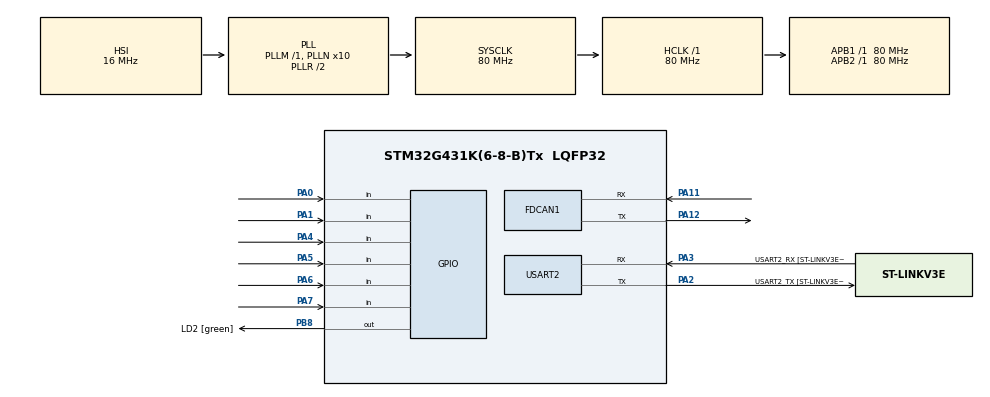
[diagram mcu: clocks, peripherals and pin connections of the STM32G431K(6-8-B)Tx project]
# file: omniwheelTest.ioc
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FDCAN1.CalculateBaudRateNominal=1000000
FDCAN1.CalculateTimeBitNominal=1000
FDCAN1.CalculateTimeQuantumNominal=62.5
FDCAN1.DataPrescaler=1
FDCAN1.DataSyncJumpWidth=4
FDCAN1.DataTimeSeg1=5
FDCAN1.DataTimeSeg2=4
FDCAN1.NominalPrescaler=5
FDCAN1.NominalSyncJumpWidth=16
FDCAN1.NominalTimeSeg1=13
FDCAN1.StdFiltersNbr=1
Mcu.Family=STM32G4
Mcu.Name=STM32G431K(6-8-B)Tx
Mcu.Package=LQFP32
NVIC.FDCAN1_IT0_IRQn=true\:0\:0\:false\:false\:true\:true\:true\:true
NVIC.FDCAN1_IT1_IRQn=true\:0\:0\:false\:false\:true\:true\:true\:true
NVIC.PriorityGroup=NVIC_PRIORITYGROUP_4
PA0.GPIO_PuPd=GPIO_PULLUP
PA0.Signal=GPIO_Input
PA1.GPIO_PuPd=GPIO_PULLUP
PA1.Signal=GPIO_Input
PA11.Mode=FDCAN_Activate
PA11.Signal=FDCAN1_RX
PA12.Mode=FDCAN_Activate
PA12.Signal=FDCAN1_TX
PA13.GPIO_Label=T_SWDIO
PA13.Mode=Serial_Wire
PA13.Signal=SYS_JTMS-SWDIO
PA14.GPIO_Label=T_SWCLK
PA14.Mode=Serial_Wire
PA14.Signal=SYS_JTCK-SWCLK
PA2.GPIO_Label=USART2_TX [ST-LINKV3E_VCP_RX]
PA2.Mode=Asynchronous
PA2.Signal=USART2_TX
PA3.GPIO_Label=USART2_RX [ST-LINKV3E_VCP_TX]
PA3.Mode=Asynchronous
PA3.Signal=USART2_RX
PA4.GPIO_PuPd=GPIO_PULLUP
PA4.Signal=GPIO_Input
PA5.GPIO_PuPd=GPIO_PULLUP
PA5.Signal=GPIO_Input
PA6.GPIO_PuPd=GPIO_PULLUP
PA6.Signal=GPIO_Input
PA7.GPIO_PuPd=GPIO_PULLUP
PA7.Signal=GPIO_Input
PB3.GPIO_Label=T_SWO
PB3.Signal=SYS_JTDO-SWO
PB8-BOOT0.GPIO_Label=LD2 [green]
PB8-BOOT0.Signal=GPIO_Output
ProjectManager.HeapSize=0x200
ProjectManager.StackSize=0x400
ProjectManager.TargetToolchain=STM32CubeIDE
RCC.ADC12Freq_Value=80000000
RCC.AHBFreq_Value=80000000
RCC.APB1Freq_Value=80000000
RCC.APB1TimFreq_Value=80000000
RCC.APB2Freq_Value=80000000
RCC.APB2TimFreq_Value=80000000
RCC.CortexFreq_Value=80000000
RCC.EXTERNAL_CLOCK_VALUE=12288000
RCC.HCLKFreq_Value=80000000
RCC.HSE_VALUE=8000000
RCC.HSI48_VALUE=48000000
RCC.HSI_VALUE=16000000
RCC.LSE_VALUE=32768
RCC.PLLN=10
RCC.SYSCLKFreq_VALUE=80000000
RCC.SYSCLKSource=RCC_SYSCLKSOURCE_PLLCLK
RCC.USBFreq_Value=80000000
RCC.VCOOutputFreq_Value=160000000
USART2.VirtualMode-Asynchronous=VM_ASYNC
USART2.WordLength=WORDLENGTH_8B
board=NUCLEO-G431KB

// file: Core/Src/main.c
/* USER CODE BEGIN Header */
/**
  ******************************************************************************
  * @file           : main.c
  * @brief          : Main program body
  ******************************************************************************
  * @attention
  *
  * Copyright (c) 2023 STMicroelectronics.
  * All rights reserved.
  *
  * This software is licensed under terms that can be found in the LICENSE file
  * in the root directory of this software component.
  * If no LICENSE file comes with this software, it is provided AS-IS.
  *
  ******************************************************************************
  */
/* USER CODE END Header */
#include "main.h"

/* USER CODE BEGIN PD */
#define MOTOR0 0 //正面?���?出側のモーターから反時計回りに0,1,2
#define MOTOR1 1
#define MOTOR2 2
#define CANID_MOTORS 0x200
/* USER CODE END PD */

FDCAN_HandleTypeDef hfdcan1;

UART_HandleTypeDef huart2;

/* USER CODE BEGIN PV */
uint8_t speed = 64;

/* USER CODE END PV */

void SystemClock_Config(void);
static void MX_GPIO_Init(void);
static void MX_USART2_UART_Init(void);
static void MX_FDCAN1_Init(void);
/* USER CODE BEGIN PFP */
void omnidrive(int8_t Vx, int8_t Vy, int8_t Om);
void CAN_Motordrive(int16_t vel[]);

/* USER CODE END PFP */

int main(void)
{

  /* MCU Configuration--------------------------------------------------------*/

  /* Reset of all peripherals, Initializes the Flash interface and the Systick. */
  HAL_Init();

  /* Configure the system clock */
  SystemClock_Config();

  /* Initialize all configured peripherals */
  MX_GPIO_Init();
  MX_USART2_UART_Init();
  MX_FDCAN1_Init();
  /* USER CODE BEGIN 2 */
  if (HAL_FDCAN_Start(&hfdcan1) != HAL_OK) {
  		Error_Handler();
  	}

  uint8_t i;
  uint8_t Vx, Vy, Om;
  uint8_t inputs[6];
  uint8_t inputPins[6] = {GPIO_PIN_0,GPIO_PIN_1,GPIO_PIN_4,GPIO_PIN_5,GPIO_PIN_6,GPIO_PIN_7};

  /* USER CODE END 2 */

  /* Infinite loop */
  /* USER CODE BEGIN WHILE */
  while (1)
  {
	  for(i=0; i<6; i++){
		  inputs[i]=HAL_GPIO_ReadPin(GPIOA, inputPins[i]);//pullup, SET == LOW, RESET == HIGH
	  }

	  if(inputs[0]==GPIO_PIN_RESET){
		  Vx=0; Vy=0; Om=1;
	  }
	  else if(inputs[1]==GPIO_PIN_RESET){
		  Vx=0; Vy=0; Om=-1;
	  }
	  else if(inputs[2]==GPIO_PIN_RESET){
		  Vx=1; Vy=0; Om=0;
	  }
	  else if(inputs[3]==GPIO_PIN_RESET){
		  Vx=-1; Vy=0; Om=0;
	  }
	  else if(inputs[4]==GPIO_PIN_RESET){
		  Vx=0; Vy=1; Om=0;
	  }
	  else if(inputs[5]==GPIO_PIN_RESET){
		  Vx=0; Vy=-1; Om=0;
	  }
	  else{
		  Vx=0; Vy=0; Om=0;
	  }
	  //Vx=0;Vy=0;Om=-1;

	  omnidrive(Vx,Vy,Om);

    /* USER CODE END WHILE */

  }
}

void SystemClock_Config(void)
{
  RCC_OscInitTypeDef RCC_OscInitStruct = {0};
  RCC_ClkInitTypeDef RCC_ClkInitStruct = {0};

  /** Configure the main internal regulator output voltage
  */
  HAL_PWREx_ControlVoltageScaling(PWR_REGULATOR_VOLTAGE_SCALE1);

  /** Initializes the RCC Oscillators according to the specified parameters
  * in the RCC_OscInitTypeDef structure.
  */
  RCC_OscInitStruct.OscillatorType = RCC_OSCILLATORTYPE_HSI;
  RCC_OscInitStruct.HSIState = RCC_HSI_ON;
  RCC_OscInitStruct.HSICalibrationValue = RCC_HSICALIBRATION_DEFAULT;
  RCC_OscInitStruct.PLL.PLLState = RCC_PLL_ON;
  RCC_OscInitStruct.PLL.PLLSource = RCC_PLLSOURCE_HSI;
  RCC_OscInitStruct.PLL.PLLM = RCC_PLLM_DIV1;
  RCC_OscInitStruct.PLL.PLLN = 10;
  RCC_OscInitStruct.PLL.PLLP = RCC_PLLP_DIV2;
  RCC_OscInitStruct.PLL.PLLQ = RCC_PLLQ_DIV2;
  RCC_OscInitStruct.PLL.PLLR = RCC_PLLR_DIV2;
  if (HAL_RCC_OscConfig(&RCC_OscInitStruct) != HAL_OK)
  {
    Error_Handler();
  }

  /** Initializes the CPU, AHB and APB buses clocks
  */
  RCC_ClkInitStruct.ClockType = RCC_CLOCKTYPE_HCLK|RCC_CLOCKTYPE_SYSCLK
                              |RCC_CLOCKTYPE_PCLK1|RCC_CLOCKTYPE_PCLK2;
  RCC_ClkInitStruct.SYSCLKSource = RCC_SYSCLKSOURCE_PLLCLK;
  RCC_ClkInitStruct.AHBCLKDivider = RCC_SYSCLK_DIV1;
  RCC_ClkInitStruct.APB1CLKDivider = RCC_HCLK_DIV1;
  RCC_ClkInitStruct.APB2CLKDivider = RCC_HCLK_DIV1;

  if (HAL_RCC_ClockConfig(&RCC_ClkInitStruct, FLASH_LATENCY_2) != HAL_OK)
  {
    Error_Handler();
  }
}

static void MX_FDCAN1_Init(void)
{

  hfdcan1.Instance = FDCAN1;
  hfdcan1.Init.ClockDivider = FDCAN_CLOCK_DIV1;
  hfdcan1.Init.FrameFormat = FDCAN_FRAME_CLASSIC;
  hfdcan1.Init.Mode = FDCAN_MODE_NORMAL;
  hfdcan1.Init.AutoRetransmission = DISABLE;
  hfdcan1.Init.TransmitPause = DISABLE;
  hfdcan1.Init.ProtocolException = DISABLE;
  hfdcan1.Init.NominalPrescaler = 5;
  hfdcan1.Init.NominalSyncJumpWidth = 16;
  hfdcan1.Init.NominalTimeSeg1 = 13;
  hfdcan1.Init.NominalTimeSeg2 = 2;
  hfdcan1.Init.DataPrescaler = 1;
  hfdcan1.Init.DataSyncJumpWidth = 4;
  hfdcan1.Init.DataTimeSeg1 = 5;
  hfdcan1.Init.DataTimeSeg2 = 4;
  hfdcan1.Init.StdFiltersNbr = 1;
  hfdcan1.Init.ExtFiltersNbr = 0;
  hfdcan1.Init.TxFifoQueueMode = FDCAN_TX_FIFO_OPERATION;
  if (HAL_FDCAN_Init(&hfdcan1) != HAL_OK)
  {
    Error_Handler();
  }

}

static void MX_USART2_UART_Init(void)
{

  huart2.Instance = USART2;
  huart2.Init.BaudRate = 115200;
  huart2.Init.WordLength = UART_WORDLENGTH_8B;
  huart2.Init.StopBits = UART_STOPBITS_1;
  huart2.Init.Parity = UART_PARITY_NONE;
  huart2.Init.Mode = UART_MODE_TX_RX;
  huart2.Init.HwFlowCtl = UART_HWCONTROL_NONE;
  huart2.Init.OverSampling = UART_OVERSAMPLING_16;
  huart2.Init.OneBitSampling = UART_ONE_BIT_SAMPLE_DISABLE;
  huart2.Init.ClockPrescaler = UART_PRESCALER_DIV1;
  huart2.AdvancedInit.AdvFeatureInit = UART_ADVFEATURE_NO_INIT;
  if (HAL_UART_Init(&huart2) != HAL_OK)
  {
    Error_Handler();
  }
  if (HAL_UARTEx_SetTxFifoThreshold(&huart2, UART_TXFIFO_THRESHOLD_1_8) != HAL_OK)
  {
    Error_Handler();
  }
  if (HAL_UARTEx_SetRxFifoThreshold(&huart2, UART_RXFIFO_THRESHOLD_1_8) != HAL_OK)
  {
    Error_Handler();
  }
  if (HAL_UARTEx_DisableFifoMode(&huart2) != HAL_OK)
  {
    Error_Handler();
  }

}

static void MX_GPIO_Init(void)
{
  GPIO_InitTypeDef GPIO_InitStruct = {0};

  /* GPIO Ports Clock Enable */
  __HAL_RCC_GPIOA_CLK_ENABLE();
  __HAL_RCC_GPIOB_CLK_ENABLE();

  /*Configure GPIO pin Output Level */
  HAL_GPIO_WritePin(LD2_GPIO_Port, LD2_Pin, GPIO_PIN_RESET);

  /*Configure GPIO pins : PA0 PA1 PA4 PA5
                           PA6 PA7 */
  GPIO_InitStruct.Pin = GPIO_PIN_0|GPIO_PIN_1|GPIO_PIN_4|GPIO_PIN_5
                          |GPIO_PIN_6|GPIO_PIN_7;
  GPIO_InitStruct.Mode = GPIO_MODE_INPUT;
  GPIO_InitStruct.Pull = GPIO_PULLUP;
  HAL_GPIO_Init(GPIOA, &GPIO_InitStruct);

  /*Configure GPIO pin : LD2_Pin */
  GPIO_InitStruct.Pin = LD2_Pin;
  GPIO_InitStruct.Mode = GPIO_MODE_OUTPUT_PP;
  GPIO_InitStruct.Pull = GPIO_NOPULL;
  GPIO_InitStruct.Speed = GPIO_SPEED_FREQ_LOW;
  HAL_GPIO_Init(LD2_GPIO_Port, &GPIO_InitStruct);

}

/* USER CODE BEGIN 4 */
void omnidrive(int8_t Vx, int8_t Vy, int8_t Om)
{
	int16_t vel[3];
	if(Vx != 0){
		vel[0] = speed*32*Vx;
		vel[1] = -1*speed*32*Vx;
		vel[2] = -1*speed*32*Vx;
	}

	else if(Vy != 0){
		vel[0] = 0;
		vel[1] = speed*64*Vy*1.73;
		vel[2] = speed*(-64)*Vy*1.73;
	}

	else if(Om !=0){
		Om=-1*Om;
		vel[0] = speed*64*Om; vel[1] = speed*64*Om; vel[2] = speed*64*Om;
	}

	else{
		vel[0] = 0; vel[1] = 0; vel[2] = 0;
	}

	vel[0]=0; vel[1]=16384; vel[2]=0;

	CAN_Motordrive(vel);
}

void CAN_Motordrive(int16_t vel[])
{
	FDCAN_TxHeaderTypeDef TxHeader;
	int i;
	uint8_t TxData[8];
	for(i=0; i<3; i++){
		if(vel[i]<-16384)vel[i]=-16384;
		else if(vel[i]>16384)vel[i]=16384;
		TxData[i*2]=vel[i]>>8;//上位ビ�?�?
		TxData[i*2+1]=vel[i]&0x00FF;//下位ビ�?�?
	}

	TxHeader.IdType = FDCAN_STANDARD_ID;
	TxHeader.TxFrameType = FDCAN_DATA_FRAME;
	TxHeader.DataLength = FDCAN_DLC_BYTES_8;
	TxHeader.ErrorStateIndicator = FDCAN_ESI_ACTIVE;
	TxHeader.BitRateSwitch = FDCAN_BRS_OFF;
	TxHeader.FDFormat = FDCAN_CLASSIC_CAN;
	TxHeader.TxEventFifoControl = FDCAN_NO_TX_EVENTS;
	TxHeader.MessageMarker = 0;
	TxHeader.Identifier = CANID_MOTORS;
	if (HAL_FDCAN_AddMessageToTxFifoQ(&hfdcan1, &TxHeader, TxData) != HAL_OK) {
		/* Transmission request Error */
		Error_Handler();
	}
	HAL_Delay(10);
}

/* USER CODE END 4 */

void Error_Handler(void)
{
  __disable_irq();
  while (1)
  {
  }
}
